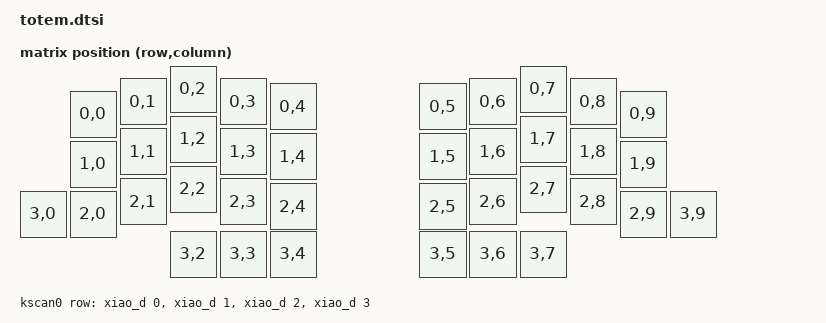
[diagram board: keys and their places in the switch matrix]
/*
 * Copyright (c) 2022 The ZMK Contributors
 *
 * SPDX-License-Identifier: MIT
 */

#include <dt-bindings/zmk/matrix_transform.h>
#include <physical_layouts.dtsi>

/ {
    chosen {
        zmk,physical-layout = &physical_layout0;
    };

    default_transform: keymap_transform_0 {
        compatible = "zmk,matrix-transform";
        columns = <10>;
        rows = <4>;
//             | SW01  | SW02  | SW03  | SW04  | SW05  |  | SW05  | SW04  | SW03  | SW02  | SW01  |
//             | SW06  | SW07  | SW08  | SW09  | SW10  |  | SW10  | SW09  | SW08  | SW07  | SW06  | 
//      | SW16 | SW11  | SW12  | SW13  | SW14  | SW15  |  | SW15  | SW14  | SW13  | SW12  | SW11  | SW16  |
//                             | SW17  | SW18  | SW19  |  | SW19  | SW18  | SW17  | 
        map = <
                RC(0,0) RC(0,1) RC(0,2) RC(0,3) RC(0,4)    RC(0,5) RC(0,6) RC(0,7) RC(0,8) RC(0,9)
                RC(1,0) RC(1,1) RC(1,2) RC(1,3) RC(1,4)    RC(1,5) RC(1,6) RC(1,7) RC(1,8) RC(1,9)
        RC(3,0) RC(2,0) RC(2,1) RC(2,2) RC(2,3) RC(2,4)    RC(2,5) RC(2,6) RC(2,7) RC(2,8) RC(2,9) RC(3,9)
                                RC(3,2) RC(3,3) RC(3,4)    RC(3,5) RC(3,6) RC(3,7)         
        >;
    };


    kscan0: kscan_0 {
        compatible = "zmk,kscan-gpio-matrix";
        label = "KSCAN";
        
        diode-direction = "col2row"; 
        row-gpios
            = <&xiao_d 0 (GPIO_ACTIVE_HIGH | GPIO_PULL_DOWN)>
            , <&xiao_d 1 (GPIO_ACTIVE_HIGH | GPIO_PULL_DOWN)>
            , <&xiao_d 2 (GPIO_ACTIVE_HIGH | GPIO_PULL_DOWN)>
            , <&xiao_d 3 (GPIO_ACTIVE_HIGH | GPIO_PULL_DOWN)>
            ;
    };

    physical_layout0: physical_layout_0 {
        compatible = "zmk,physical-layout";
        display-name = "TOTEM";
        transform = <&default_transform>;
        kscan = <&kscan0>;
        keys  //                     w   h    x    y  rot  rx  ry
            = <&key_physical_attrs 100 100  100   50 0 0 0>
            , <&key_physical_attrs 100 100  200   25 0 0 0>
            , <&key_physical_attrs 100 100  300    0 0 0 0>
            , <&key_physical_attrs 100 100  400   25 0 0 0>
            , <&key_physical_attrs 100 100  500   35 0 0 0>
            , <&key_physical_attrs 100 100  800   35 0 0 0>
            , <&key_physical_attrs 100 100  900   25 0 0 0>
            , <&key_physical_attrs 100 100 1000    0 0 0 0>
            , <&key_physical_attrs 100 100 1100   25 0 0 0>
            , <&key_physical_attrs 100 100 1200   50 0 0 0>
            , <&key_physical_attrs 100 100  100  150 0 0 0>
            , <&key_physical_attrs 100 100  200  125 0 0 0>
            , <&key_physical_attrs 100 100  300  100 0 0 0>
            , <&key_physical_attrs 100 100  400  125 0 0 0>
            , <&key_physical_attrs 100 100  500  135 0 0 0>
            , <&key_physical_attrs 100 100  800  135 0 0 0>
            , <&key_physical_attrs 100 100  900  125 0 0 0>
            , <&key_physical_attrs 100 100 1000  100 0 0 0>
            , <&key_physical_attrs 100 100 1100  125 0 0 0>
            , <&key_physical_attrs 100 100 1200  150 0 0 0>
            , <&key_physical_attrs 100 100    0  250 0 0 0>
            , <&key_physical_attrs 100 100  100  250 0 0 0>
            , <&key_physical_attrs 100 100  200  225 0 0 0>
            , <&key_physical_attrs 100 100  300  200 0 0 0>
            , <&key_physical_attrs 100 100  400  225 0 0 0>
            , <&key_physical_attrs 100 100  500  235 0 0 0>
            , <&key_physical_attrs 100 100  800  235 0 0 0>
            , <&key_physical_attrs 100 100  900  225 0 0 0>
            , <&key_physical_attrs 100 100 1000  200 0 0 0>
            , <&key_physical_attrs 100 100 1100  225 0 0 0>
            , <&key_physical_attrs 100 100 1200  250 0 0 0>
            , <&key_physical_attrs 100 100 1300  250 0 0 0>
            , <&key_physical_attrs 100 100  300  330 0 0 0>
            , <&key_physical_attrs 100 100  400  330 0 0 0>
            , <&key_physical_attrs 100 100  500  330 0 0 0>
            , <&key_physical_attrs 100 100  800  330 0 0 0>
            , <&key_physical_attrs 100 100  900  330 0 0 0>
            , <&key_physical_attrs 100 100 1000  330 0 0 0>
            ;
    };
};
